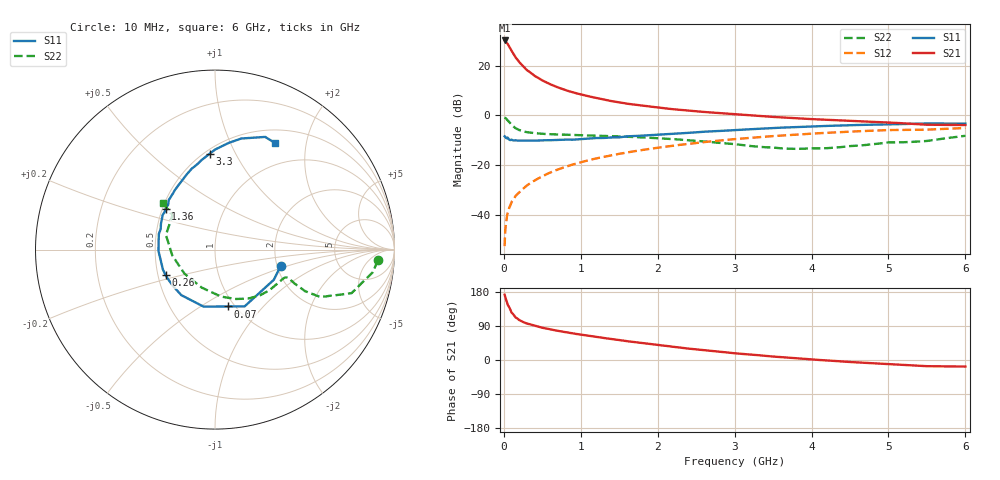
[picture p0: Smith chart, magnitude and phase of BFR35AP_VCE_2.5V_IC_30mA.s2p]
! Infineon Technologies  Discrete & RF Semiconductors
! BFR35AP
! VCE =  2.5 V,  IC =  30 mA
! Common Emitter S-Parameters:  Nov 2015
# GHz  S  MA  R  50
!  f  S11  S21  S12  S22
! GHz  MAG  ANG  MAG  ANG  MAG  ANG  MAG  ANG
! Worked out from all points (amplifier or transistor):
!   210 points, 10 MHz to 6 GHz, reference 50 ohm
!   highest |S21| = 30.2 dB at 10 MHz (marker M1)
!   |S21| within 3 dB of that: start of sweep to 78.57 MHz
!   unconditionally stable (mu >= 1): 188.5 MHz to end of sweep
!   at 185 MHz: K = 0.99, MSG = 26.8 dB, |S12| = -31.5 dB
!   at 1.52 GHz: K = 1.24, MAG = 7.4 dB, |S12| = -15.4 dB
!   at 6 GHz: K = 1.04, MAG = -0.7 dB, |S12| = -5.1 dB
!   S11 on the Smith chart (normalised r, x): 10 MHz: 2.10, -0.44; 70 MHz: 0.93, -0.66; 260 MHz: 0.55, -0.17; 1.36 GHz: 0.52, +0.27; 3.3 GHz: 0.53, +0.80; 6 GHz: 0.67, +1.49
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0.01  0.3777 -13.7  32.49 172.3  0.0023 86.8  0.9088 -3.8
0.02  0.3682 -27.2  31.72 164.7  0.0051 75.9  0.8888 -8.1
0.05  0.3567 -62.4  27.63 145.8  0.0109 72.6  0.7984 -17.7
0.07  0.3252 -76.9  24.3 139.1  0.0136 69.6  0.7358 -20.0
0.1  0.324 -101.3  20.18 125.3  0.0178 66.8  0.6446 -24.2
0.15  0.3156 -126.5  14.99 112.8  0.0235 66.1  0.5548 -24.8
0.2  0.3097 -140.0  11.9 105.5  0.028 67.3  0.5061 -23.7
0.26  0.3096 -152.5  9.42 99.4  0.0341 68.7  0.4729 -22.7
0.3  0.3108 -159.1  8.198 96.2  0.0385 70.5  0.4587 -22.0
0.4  0.3092 -170.4  6.276 90.3  0.0485 71.2  0.4377 -21.2
0.5  0.3149 -178.6  5.081 85.1  0.0589 72.6  0.4246 -21.3
0.6  0.3159 175.1  4.267 80.9  0.07 72.5  0.4175 -22.1
0.7  0.32 168.4  3.681 76.9  0.0807 72.5  0.4123 -23.1
0.8  0.3249 164.2  3.227 73.3  0.0915 71.7  0.4078 -24.5
1.02  0.3348 153.7  2.604 66.4  0.1153 70.5  0.3976 -28.0
1.36  0.3562 140.7  1.996 56.4  0.1522 67.4  0.3824 -34.4
2.02  0.4092 120.8  1.434 39.3  0.2245 59.9  0.3442 -49.8
3.1  0.5152 96.5  1.026 16.1  0.3418 45.5  0.2518 -87.3
3.3  0.5356 93.1  0.977 12.8  0.3616 42.5  0.2338 -97.6
4.1  0.606 81.4  0.828 0.1  0.4373 30.8  0.2161 -148.3
5.1  0.6641 70.0  0.706 -12.0  0.5072 15.6  0.2855 158.7
6  0.6819 60.8  0.639 -17.3  0.5568 4.7  0.3874 138.2
